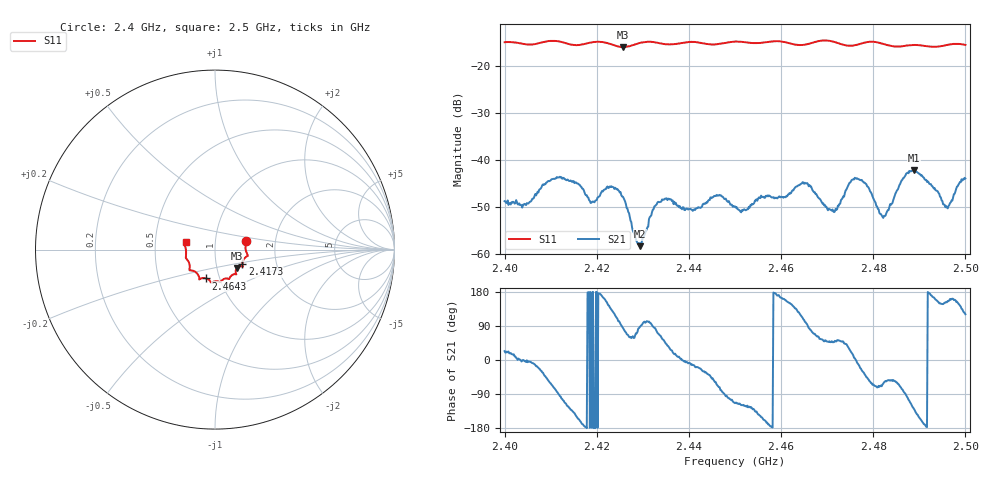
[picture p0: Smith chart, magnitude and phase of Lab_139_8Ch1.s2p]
# Hz S RI R 50
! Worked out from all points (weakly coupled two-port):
!   601 points, 2.4 GHz to 2.5 GHz, reference 50 ohm
!   highest |S21| = -42.16 dB at 2.4888 GHz (marker M1); lowest = -58.4 dB at 2.4293 GHz (marker M2)
!   lowest |S11| = -15.9 dB at 2.4257 GHz (marker M3), VSWR 1.38, Z = 62.4 - j13.1 ohm
!   |S11| at or under -10 dB: start of sweep to end of sweep
!   S12 and S22 are empty: the file has one direction only
!   S11 on the Smith chart (normalised r, x): 2.4 GHz: 1.41, +0.15; 2.4173 GHz: 1.34, -0.23; 2.4643 GHz: 0.86, -0.28; 2.5 GHz: 0.72, +0.06
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2.4e9  0.1734 0.0498  0.00333 0.00143  0 0  0 0
2.405e9  0.17 0.0132  0.00342 -0.000344  0 0  0 0
2.411833e9  0.1806 -0.0361  -0.000207 -0.00649  0 0  0 0
2.416667e9  0.1527 -0.0747  -0.005 -0.00121  0 0  0 0
2.417333e9  0.1521 -0.082  -0.00448 -0.000411  0 0  0 0
2.419e9  0.1536 -0.0947  -0.00357 -0.000112  0 0  0 0
2.422667e9  0.1476 -0.0934  -0.00406 0.00302  0 0  0 0
2.425667e9  0.1225 -0.1025  0.000352 0.00403  0 0  0 0
2.429333e9  0.1167 -0.1331  6.28e-05 0.0012  0 0  0 0
2.433333e9  0.1126 -0.1367  0.00123 0.00335  0 0  0 0
2.441e9  0.0781 -0.1643  0.00285 -0.000679  0 0  0 0
2.4465e9  0.044 -0.167  0.00132 -0.00394  0 0  0 0
2.45e9  0.0297 -0.1808  -0.00129 -0.00292  0 0  0 0
2.464333e9  -0.0502 -0.1604  -0.00252 0.00495  0 0  0 0
2.466667e9  -0.0764 -0.16  0.00129 0.00477  0 0  0 0
2.4715e9  -0.0873 -0.1599  0.00188 0.00203  0 0  0 0
2.4765e9  -0.1219 -0.1178  0.0063 -0.000798  0 0  0 0
2.481833e9  -0.1411 -0.1037  0.000901 -0.00239  0 0  0 0
2.483333e9  -0.1408 -0.0897  0.00175 -0.00233  0 0  0 0
2.488833e9  -0.1621 -0.047  -0.00493 -0.00604  0 0  0 0
2.495833e9  -0.1669 0.018  -0.00286 0.00145  0 0  0 0
2.5e9  -0.1634 0.0417  -0.00325 0.00543  0 0  0 0
